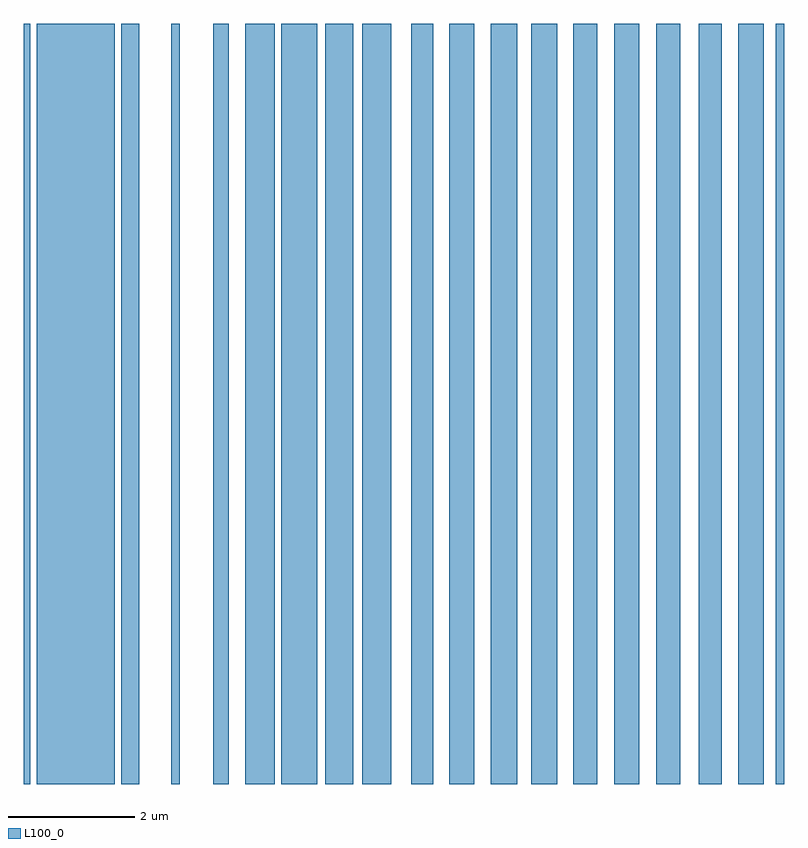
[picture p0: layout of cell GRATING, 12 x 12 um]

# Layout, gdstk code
import gdstk
lib = gdstk.Library(unit=1e-6, precision=1e-09)
def R(c, l, rs):  # rectangles x0, y0, x1, y1
    for r in rs: c.add(gdstk.rectangle(r[:2], r[2:], *l))
L100_0 = (100, 0)

grating = lib.new_cell('GRATING')
R(grating, L100_0, [(0,-6,0.1,6), (0.2,-6,1.432,6), (1.532,-6,1.821,6), (2.327,-6,2.456,6), (2.989,-6,3.23,6), (3.491,-6,3.962,6), (4.062,-6,4.627,6), (4.753,-6,5.2,6), (5.339,-6,5.802,6), (6.118,-6,6.458,6), (6.715,-6,7.106,6), (7.369,-6,7.787,6), (8.008,-6,8.419,6), (8.675,-6,9.055,6), (9.32,-6,9.711,6), (9.981,-6,10.361,6), (10.652,-6,11.017,6), (11.277,-6,11.68,6), (11.87,-6,12,6)])

lib.write_gds('GRATING.gds')
